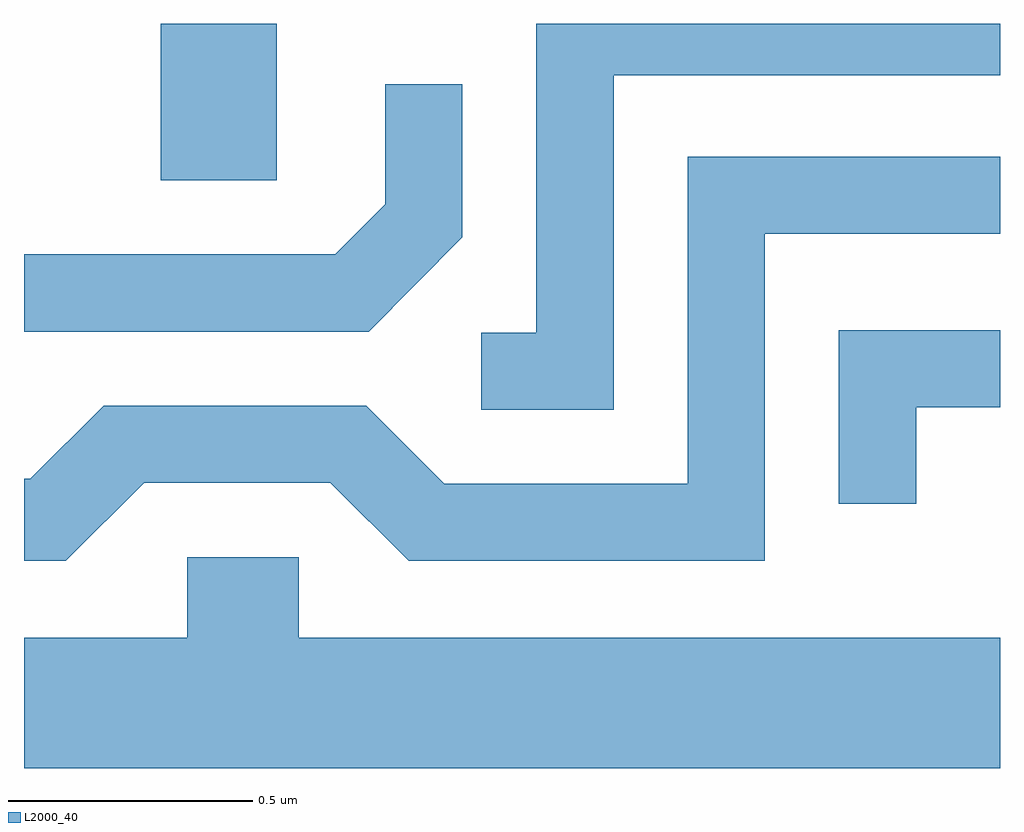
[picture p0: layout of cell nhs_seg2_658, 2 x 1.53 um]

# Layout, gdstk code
import gdstk
lib = gdstk.Library(unit=1e-6, precision=1e-09)
def R(c, l, rs):  # rectangles x0, y0, x1, y1
    for r in rs: c.add(gdstk.rectangle(r[:2], r[2:], *l))
def P(c, l, *ps):  # polygons
    for p in ps: c.add(gdstk.Polygon(p, *l))
L2000_40 = (2000, 40)

nhs_seg2_658 = lib.new_cell('nhs_seg2_658')
R(nhs_seg2_658, L2000_40, [(189.891,1089.481,190.129,1089.802)])
P(nhs_seg2_658, L2000_40, [(190.819,1089.696),(191.611,1089.696),(191.611,1089.802),(190.661,1089.802),(190.661,1089.169),(190.548,1089.169),(190.548,1089.011),(190.819,1089.011)],
  [(190.509,1089.364),(190.509,1089.678),(190.351,1089.678),(190.351,1089.432),(190.249,1089.329),(189.611,1089.329),(189.611,1089.171),(190.317,1089.171)],
  [(189.857,1088.861),(190.239,1088.861),(190.399,1088.701),(191.129,1088.701),(191.129,1089.371),(191.611,1089.371),(191.611,1089.529),(190.971,1089.529),(190.971,1088.859),(190.472,1088.859),(190.312,1089.019),(189.774,1089.019),(189.624,1088.869),(189.611,1088.869),(189.611,1088.701),(189.697,1088.701)],
  [(191.439,1089.016),(191.611,1089.016),(191.611,1089.174),(191.281,1089.174),(191.281,1088.818),(191.439,1088.818)],
  [(191.611,1088.544),(190.174,1088.544),(190.174,1088.709),(189.946,1088.709),(189.946,1088.544),(189.611,1088.544),(189.611,1088.276),(191.611,1088.276)])

lib.write_gds('nhs_seg2_658.gds')
